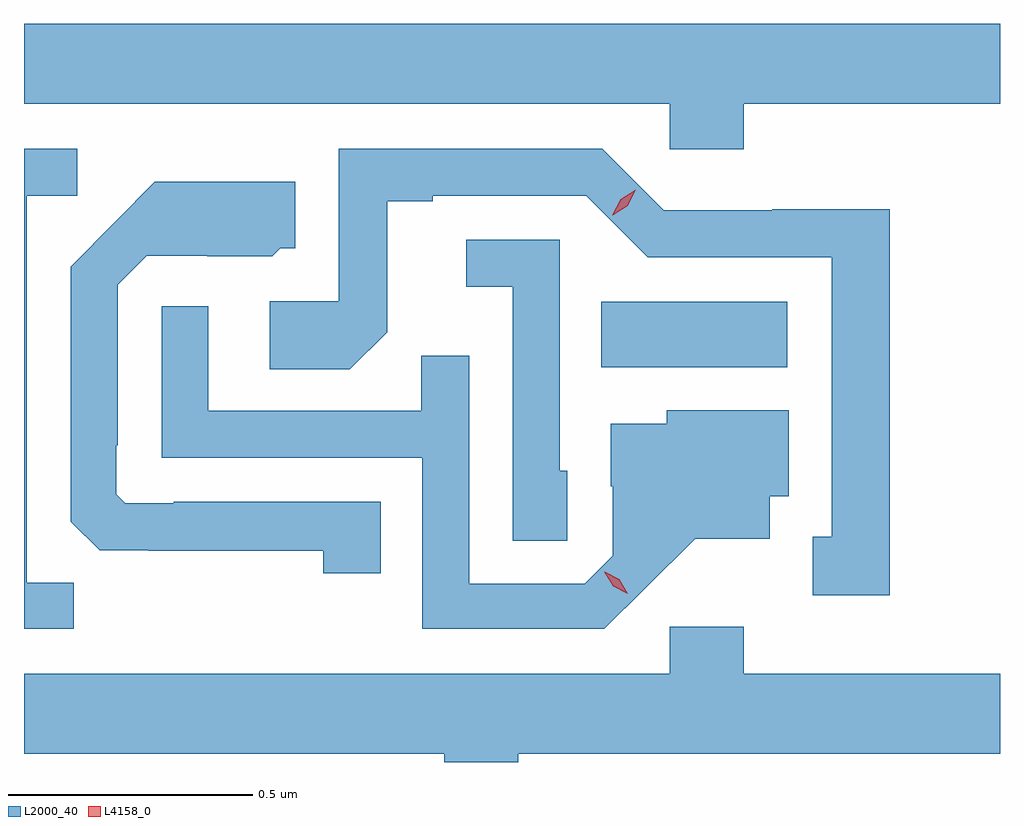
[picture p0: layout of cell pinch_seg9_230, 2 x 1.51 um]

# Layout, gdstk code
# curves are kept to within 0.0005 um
import gdstk
lib = gdstk.Library(unit=1e-6, precision=1e-09)
def R(c, l, rs):  # rectangles x0, y0, x1, y1
    for r in rs: c.add(gdstk.rectangle(r[:2], r[2:], *l))
def P(c, l, *ps):  # polygons
    for p in ps: c.add(gdstk.Polygon(p, *l))
L2000_40 = (2000, 40)
L4158_0 = (4158, 0)

pinch_seg9_230 = lib.new_cell('pinch_seg9_230')
R(pinch_seg9_230, L2000_40, [(613.78,1210.532,614.161,1210.666)])
P(pinch_seg9_230, L2000_40, [(614.072,1211.072),(614.597,1211.072),(614.597,1211.236),(612.597,1211.236),(612.597,1211.072),(613.92,1211.072),(613.92,1210.979),(614.072,1210.979)],
  [(614.371,1210.856),(614.13,1210.856),(614.13,1210.854),(613.908,1210.854),(613.782,1210.98),(613.242,1210.98),(613.242,1210.668),(613.101,1210.668),(613.101,1210.528),(613.265,1210.528),(613.341,1210.604),(613.341,1210.872),(613.435,1210.872),(613.435,1210.884),(613.749,1210.884),(613.875,1210.758),(614.252,1210.758),(614.252,1210.185),(614.213,1210.185),(614.213,1210.065),(614.371,1210.065)],
  [(612.699,1210.091),(612.603,1210.091),(612.603,1210.884),(612.706,1210.884),(612.706,1210.98),(612.597,1210.98),(612.597,1209.996),(612.699,1209.996)],
  [(613.328,1210.257),(612.904,1210.257),(612.904,1210.254),(612.804,1210.254),(612.786,1210.272),(612.786,1210.372),(612.789,1210.372),(612.789,1210.701),(612.849,1210.761),(612.972,1210.761),(612.972,1210.76),(613.106,1210.76),(613.122,1210.776),(613.153,1210.776),(613.153,1210.912),(612.865,1210.912),(612.693,1210.738),(612.693,1210.216),(612.752,1210.157),(612.853,1210.157),(612.853,1210.156),(613.21,1210.156),(613.21,1210.11),(613.328,1210.11)],
  [(613.71,1210.32),(613.695,1210.32),(613.695,1210.794),(613.503,1210.794),(613.503,1210.697),(613.599,1210.697),(613.599,1210.177),(613.71,1210.177)],
  [(613.87,1210.079),(613.973,1210.181),(614.125,1210.181),(614.125,1210.268),(614.164,1210.268),(614.164,1210.444),(613.914,1210.444),(613.914,1210.417),(613.799,1210.417),(613.799,1210.288),(613.803,1210.288),(613.803,1210.146),(613.746,1210.089),(613.509,1210.089),(613.509,1210.556),(613.411,1210.556),(613.411,1210.443),(612.975,1210.443),(612.975,1210.657),(612.879,1210.657),(612.879,1210.347),(613.413,1210.347),(613.413,1209.996),(613.786,1209.996)],
  [(613.61,1209.74),(614.597,1209.74),(614.597,1209.904),(614.072,1209.904),(614.072,1210),(613.92,1210),(613.92,1209.904),(612.597,1209.904),(612.597,1209.74),(613.458,1209.74),(613.458,1209.723),(613.61,1209.723)])
P(pinch_seg9_230, L4158_0, [(613.802,1210.844),(613.802,1210.844),(613.82,1210.877),(613.851,1210.896),(613.851,1210.896),(613.851,1210.896),(613.834,1210.863),(613.803,1210.844)],
  [(613.834,1210.068),(613.804,1210.083),(613.786,1210.113),(613.786,1210.113),(613.787,1210.113),(613.817,1210.098),(613.834,1210.068),(613.834,1210.068)])

lib.write_gds('pinch_seg9_230.gds')
